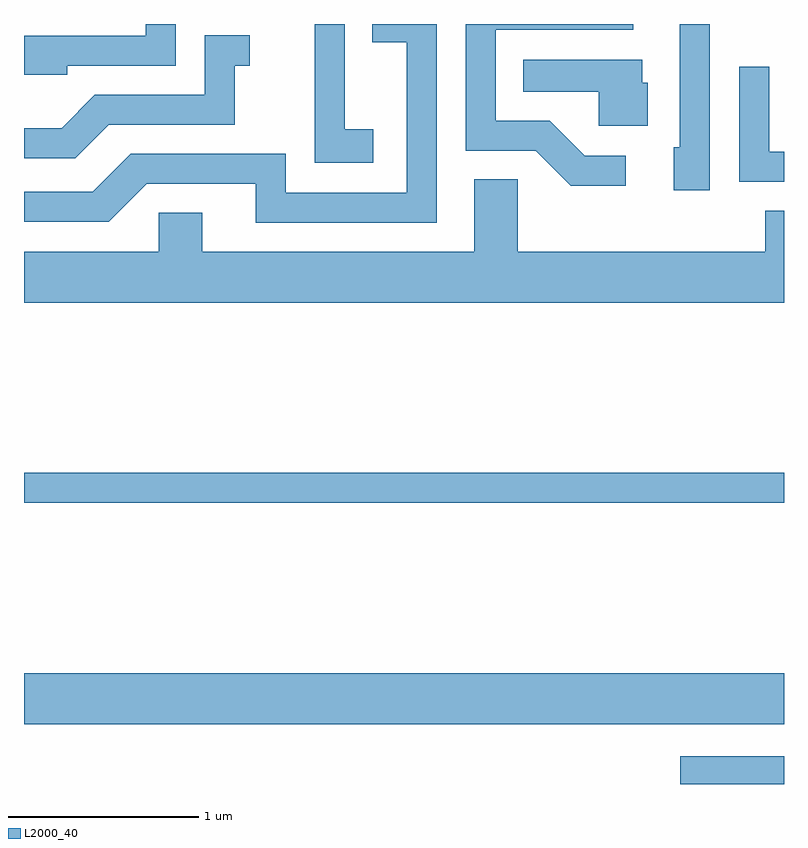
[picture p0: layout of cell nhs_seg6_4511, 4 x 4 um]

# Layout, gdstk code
import gdstk
lib = gdstk.Library(unit=1e-6, precision=1e-09)
def R(c, l, rs):  # rectangles x0, y0, x1, y1
    for r in rs: c.add(gdstk.rectangle(r[:2], r[2:], *l))
def P(c, l, *ps):  # polygons
    for p in ps: c.add(gdstk.Polygon(p, *l))
L2000_40 = (2000, 40)

nhs_seg6_4511 = lib.new_cell('nhs_seg6_4511')
R(nhs_seg6_4511, L2000_40, [(327.066,1554.162,327.611,1554.309), (323.611,1554.476,327.611,1554.744), (323.611,1555.641,327.611,1555.799)])
P(nhs_seg6_4511, L2000_40, [(326.778,1557.469),(326.562,1557.469),(326.377,1557.654),(326.094,1557.654),(326.094,1558.131),(326.818,1558.131),(326.818,1558.162),(325.936,1558.162),(325.936,1557.496),(326.304,1557.496),(326.489,1557.311),(326.778,1557.311)],
  [(325.784,1558.162),(325.443,1558.162),(325.443,1558.066),(325.626,1558.066),(325.626,1557.274),(324.989,1557.274),(324.989,1557.479),(324.174,1557.479),(323.974,1557.279),(323.611,1557.279),(323.611,1557.121),(324.057,1557.121),(324.257,1557.321),(324.831,1557.321),(324.831,1557.116),(325.784,1557.116)],
  [(327.219,1558.162),(327.061,1558.162),(327.061,1557.514),(327.031,1557.514),(327.031,1557.286),(327.219,1557.286)],
  [(323.839,1557.941),(324.409,1557.941),(324.409,1558.162),(324.251,1558.162),(324.251,1558.099),(323.611,1558.099),(323.611,1557.896),(323.839,1557.896)],
  [(325.449,1557.609),(325.299,1557.609),(325.299,1558.162),(325.141,1558.162),(325.141,1557.431),(325.449,1557.431)],
  [(324.057,1557.631),(324.719,1557.631),(324.719,1557.941),(324.798,1557.941),(324.798,1558.104),(324.561,1558.104),(324.561,1557.789),(323.984,1557.789),(323.809,1557.614),(323.611,1557.614),(323.611,1557.456),(323.882,1557.456)],
  [(326.894,1557.854),(326.864,1557.854),(326.864,1557.974),(326.238,1557.974),(326.238,1557.806),(326.636,1557.806),(326.636,1557.626),(326.894,1557.626)],
  [(327.611,1557.489),(327.534,1557.489),(327.534,1557.938),(327.376,1557.938),(327.376,1557.331),(327.611,1557.331)],
  [(327.611,1557.179),(327.511,1557.179),(327.511,1556.964),(326.209,1556.964),(326.209,1557.344),(325.981,1557.344),(325.981,1556.964),(324.549,1556.964),(324.549,1557.169),(324.321,1557.169),(324.321,1556.964),(323.611,1556.964),(323.611,1556.696),(327.611,1556.696)])

lib.write_gds('nhs_seg6_4511.gds')
